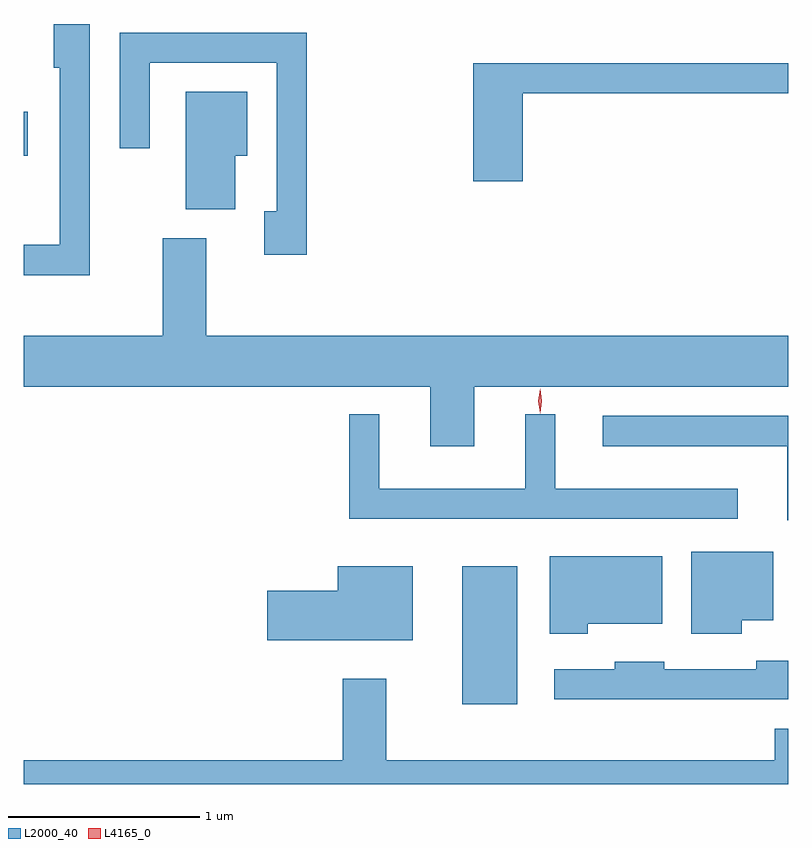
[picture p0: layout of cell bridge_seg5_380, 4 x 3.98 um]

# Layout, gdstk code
import gdstk
lib = gdstk.Library(unit=1e-6, precision=1e-09)
def R(c, l, rs):  # rectangles x0, y0, x1, y1
    for r in rs: c.add(gdstk.rectangle(r[:2], r[2:], *l))
def P(c, l, *ps):  # polygons
    for p in ps: c.add(gdstk.Polygon(p, *l))
L2000_40 = (2000, 40)
L4165_0 = (4165, 0)

bridge_seg5_380 = lib.new_cell('bridge_seg5_380')
R(bridge_seg5_380, L2000_40, [(549.316,1486.216,549.604,1486.939), (547.023,1489.086,547.044,1489.314)])
P(bridge_seg5_380, L2000_40, [(547.369,1489.774),(547.181,1489.774),(547.181,1489.546),(547.211,1489.546),(547.211,1488.619),(547.023,1488.619),(547.023,1488.461),(547.369,1488.461)],
  [(548.504,1489.729),(547.526,1489.729),(547.526,1489.123),(547.684,1489.123),(547.684,1489.571),(548.346,1489.571),(548.346,1488.794),(548.281,1488.794),(548.281,1488.566),(548.504,1488.566)],
  [(549.634,1489.411),(551.023,1489.411),(551.023,1489.569),(549.376,1489.569),(549.376,1488.951),(549.634,1488.951)],
  [(548.129,1489.086),(548.194,1489.086),(548.194,1489.419),(547.871,1489.419),(547.871,1488.806),(548.129,1488.806)],
  [(549.379,1487.876),(551.023,1487.876),(551.023,1488.144),(547.979,1488.144),(547.979,1488.654),(547.751,1488.654),(547.751,1488.144),(547.023,1488.144),(547.023,1487.876),(549.151,1487.876),(549.151,1487.566),(549.379,1487.566)],
  [(550.758,1487.344),(549.804,1487.344),(549.804,1487.733),(549.646,1487.733),(549.646,1487.344),(548.884,1487.344),(548.884,1487.733),(548.726,1487.733),(548.726,1487.186),(550.758,1487.186)],
  [(551.023,1487.724),(550.053,1487.724),(550.053,1487.566),(551.016,1487.566),(551.016,1487.178),(551.023,1487.178)],
  [(550.779,1486.656),(550.944,1486.656),(550.944,1487.014),(550.516,1487.014),(550.516,1486.586),(550.779,1486.586)],
  [(549.974,1486.636),(550.364,1486.636),(550.364,1486.989),(549.776,1486.989),(549.776,1486.586),(549.974,1486.586)],
  [(549.059,1486.939),(548.666,1486.939),(548.666,1486.809),(548.296,1486.809),(548.296,1486.551),(549.059,1486.551)],
  [(551.023,1486.444),(550.856,1486.444),(550.856,1486.399),(550.374,1486.399),(550.374,1486.439),(550.116,1486.439),(550.116,1486.399),(549.798,1486.399),(549.798,1486.241),(551.023,1486.241)],
  [(551.023,1486.089),(550.951,1486.089),(550.951,1485.924),(548.919,1485.924),(548.919,1486.349),(548.691,1486.349),(548.691,1485.924),(547.023,1485.924),(547.023,1485.799),(551.023,1485.799)])
P(bridge_seg5_380, L4165_0, [(549.724,1487.738),(549.715,1487.802),(549.724,1487.866),(549.724,1487.867),(549.725,1487.866),(549.734,1487.802),(549.725,1487.738),(549.725,1487.738)])

lib.write_gds('bridge_seg5_380.gds')
